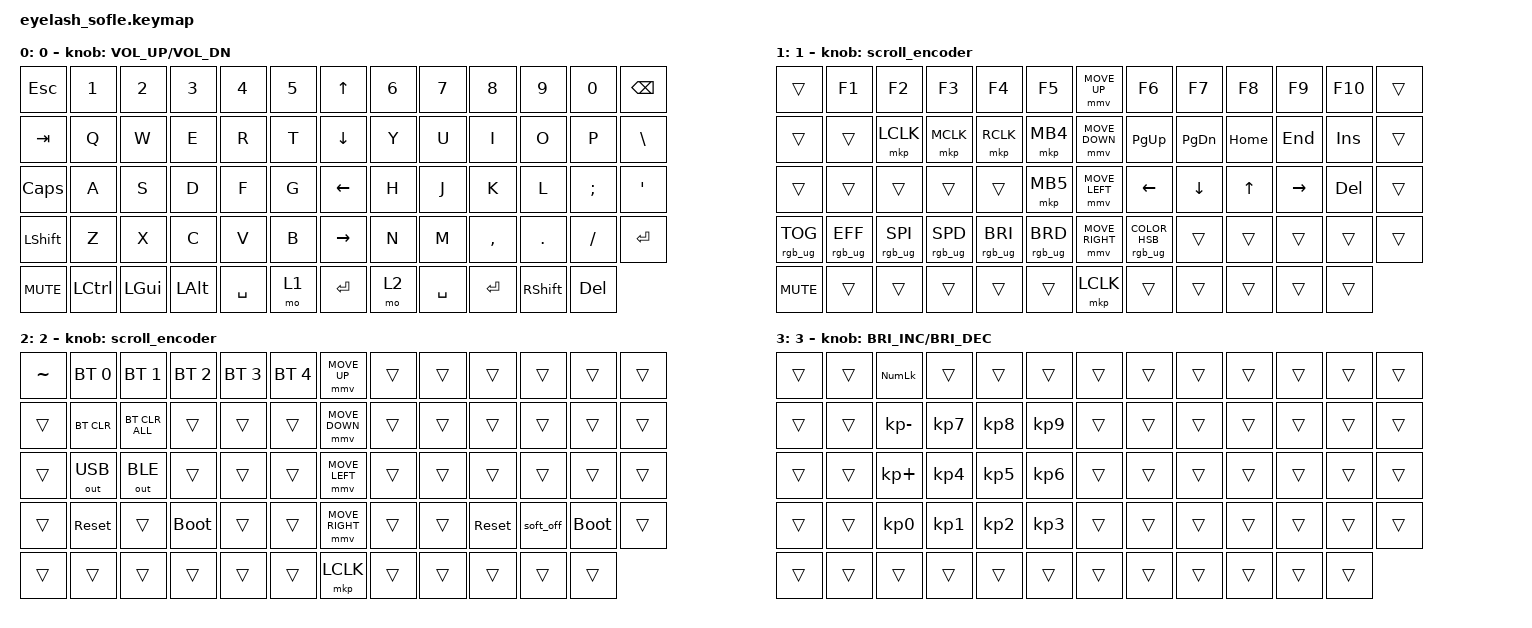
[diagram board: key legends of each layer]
#define ZMK_POINTING_DEFAULT_MOVE_VAL 1200  // 600
#define ZMK_POINTING_DEFAULT_SCRL_VAL 25   // 10

#include <input/processors.dtsi>
#include <zephyr/dt-bindings/input/input-event-codes.h>
#include <behaviors.dtsi>
#include <dt-bindings/zmk/bt.h>
#include <dt-bindings/zmk/keys.h>
#include <dt-bindings/zmk/outputs.h>
#include <dt-bindings/zmk/pointing.h>
#include <dt-bindings/zmk/rgb.h>

&mmv_input_listener { input-processors = <&zip_xy_scaler 2 1>; };

&msc_input_listener { input-processors = <&zip_scroll_scaler 2 1>; };

&msc {
    acceleration-exponent = <1>;      // 0
    time-to-max-speed-ms = <100>;       // 300
    delay-ms = <0>;                   // 0
};

&mmv {
    time-to-max-speed-ms = <500>;
    acceleration-exponent = <1>;
    trigger-period-ms = <16>;
};

/ {
    scroll_encoder: scroll_encoder {
        compatible = "zmk,behavior-sensor-rotate";
        #sensor-binding-cells = <0>;
        bindings = <&msc SCRL_DOWN>, <&msc SCRL_UP>;

        tap-ms = <100>;
    };

    combos {
        compatible = "zmk,combos";

        cf1 {
            bindings = <&kp F1>;
            key-positions = <1 14>;
            layers = <0>;
        };

        cf2 {
            bindings = <&kp F2>;
            key-positions = <15 2>;
            layers = <0>;
        };

        cf3 {
            bindings = <&kp F3>;
            key-positions = <16 3>;
            layers = <0>;
        };

        cf4 {
            bindings = <&kp F4>;
            key-positions = <4 17>;
            layers = <0>;
        };

        cf5 {
            bindings = <&kp F5>;
            key-positions = <5 18>;
            layers = <0>;
        };

        cf6 {
            bindings = <&kp F6>;
            key-positions = <20 7>;
            layers = <0>;
        };

        cf7 {
            bindings = <&kp F7>;
            key-positions = <8 21>;
            layers = <0>;
        };

        cf8 {
            bindings = <&kp F8>;
            key-positions = <9 22>;
            layers = <0>;
        };

        cf9 {
            bindings = <&kp F9>;
            key-positions = <10 23>;
            layers = <0>;
        };

        cf10 {
            bindings = <&kp F10>;
            key-positions = <11 24>;
            layers = <0>;
        };

        cf11 {
            bindings = <&kp F11>;
            key-positions = <0 13>;
            layers = <0>;
        };

        cf12 {
            bindings = <&kp F12>;
            key-positions = <12 25>;
            layers = <0>;
        };

        cminus {
            bindings = <&kp MINUS>;
            key-positions = <23 22>;
            layers = <0>;
        };

        cequal {
            bindings = <&kp EQUAL>;
            key-positions = <24 23>;
            layers = <0>;
        };

        cleftbracket {
            bindings = <&kp LEFT_BRACKET>;
            key-positions = <36 35>;
            layers = <0>;
        };

        crightbracket {
            bindings = <&kp RIGHT_BRACKET>;
            key-positions = <37 36>;
            layers = <0>;
        };

        cgrave {
            bindings = <&kp GRAVE>;
            key-positions = <14 15>;
            layers = <0>;
        };

        cmult {
            bindings = <&kp KP_ASTERISK>;
            key-positions = <29 28>;
            layers = <3>;
        };

        cslash {
            bindings = <&kp KP_SLASH>;
            key-positions = <16 15>;
            layers = <3>;
        };

        cca {
            bindings = <&kp LC(LEFT_ALT)>;
            key-positions = <53 63>;
            layers = <0>;
            slow-release;
            timeout-ms = <80>;
        };

        cgrave2 {
            bindings = <&kp GRAVE>;
            key-positions = <14 13>;
            layers = <0>;
        };
    };

    behaviors {
    };

    keymap {
        compatible = "zmk,keymap";

        layer_0 {
            bindings = <
&kp ESC     &kp N1     &kp N2        &kp N3        &kp N4     &kp N5    &kp UP_ARROW     &kp N6  &kp N7     &kp N8     &kp N9           &kp N0      &kp BACKSPACE
&kp TAB     &kp Q      &kp W         &kp E         &kp R      &kp T     &kp DOWN_ARROW   &kp Y   &kp U      &kp I      &kp O            &kp P       &kp BSLH
&kp CAPS    &kp A      &kp S         &kp D         &kp F      &kp G     &kp LEFT_ARROW   &kp H   &kp J      &kp K      &kp L            &kp SEMI    &kp APOS
&kp LSHFT   &kp Z      &kp X         &kp C         &kp V      &kp B     &kp RIGHT_ARROW  &kp N   &kp M      &kp COMMA  &kp DOT          &kp FSLH    &kp ENTER
&kp C_MUTE  &kp LCTRL  &kp LEFT_GUI  &kp LEFT_ALT  &kp SPACE  &mo 1     &kp ENTER        &mo 2   &kp SPACE  &kp ENTER  &kp RIGHT_SHIFT  &kp DELETE
            >;

            sensor-bindings = <&inc_dec_kp C_VOLUME_UP C_VOL_DN>;
            display-name = "0";
            label = "0";
        };

        layer_1 {
            bindings = <
&trans           &kp F1           &kp F2           &kp F3           &kp F4           &kp F5             &mmv MOVE_UP     &kp F6                            &kp F7          &kp F8        &kp F9     &kp F10     &trans
&trans           &trans           &mkp LCLK        &mkp MCLK        &mkp RCLK        &mkp MB4           &mmv MOVE_DOWN   &kp PG_UP                         &kp PG_DN       &kp HOME      &kp END    &kp INSERT  &trans
&trans           &trans           &trans           &trans           &trans           &mkp MB5           &mmv MOVE_LEFT   &kp LEFT_ARROW                    &kp DOWN_ARROW  &kp UP_ARROW  &kp RIGHT  &kp DEL     &trans
&rgb_ug RGB_TOG  &rgb_ug RGB_EFF  &rgb_ug RGB_SPI  &rgb_ug RGB_SPD  &rgb_ug RGB_BRI  &rgb_ug RGB_BRD    &mmv MOVE_RIGHT  &rgb_ug RGB_COLOR_HSB(209,81,77)  &trans          &trans        &trans     &trans      &trans
&kp C_MUTE       &trans           &trans           &trans           &trans           &trans             &mkp LCLK        &trans                            &trans          &trans        &trans     &trans
            >;

            display-name = "1";
            sensor-bindings = <&scroll_encoder>;
            label = "1";
        };

        layer_2 {
            bindings = <
&kp TILDE  &bt BT_SEL 0  &bt BT_SEL 1    &bt BT_SEL 2  &bt BT_SEL 3  &bt BT_SEL 4    &mmv MOVE_UP     &trans  &trans  &trans      &trans     &trans       &trans
&trans     &bt BT_CLR    &bt BT_CLR_ALL  &trans        &trans        &trans          &mmv MOVE_DOWN   &trans  &trans  &trans      &trans     &trans       &trans
&trans     &out OUT_USB  &out OUT_BLE    &trans        &trans        &trans          &mmv MOVE_LEFT   &trans  &trans  &trans      &trans     &trans       &trans
&trans     &sys_reset    &trans          &bootloader   &trans        &trans          &mmv MOVE_RIGHT  &trans  &trans  &sys_reset  &soft_off  &bootloader  &trans
&trans     &trans        &trans          &trans        &trans        &trans          &mkp LCLK        &trans  &trans  &trans      &trans     &trans
            >;

            sensor-bindings = <&scroll_encoder>;
            label = "2";
        };

        layer_3 {
            bindings = <
&trans  &trans  &kp KP_NUMLOCK  &trans     &trans     &trans       &trans  &trans  &trans  &trans  &trans  &trans  &trans
&trans  &trans  &kp KP_MINUS    &kp KP_N7  &kp KP_N8  &kp KP_N9    &trans  &trans  &trans  &trans  &trans  &trans  &trans
&trans  &trans  &kp KP_PLUS     &kp KP_N4  &kp KP_N5  &kp KP_N6    &trans  &trans  &trans  &trans  &trans  &trans  &trans
&trans  &trans  &kp KP_N0       &kp KP_N1  &kp KP_N2  &kp KP_N3    &trans  &trans  &trans  &trans  &trans  &trans  &trans
&trans  &trans  &trans          &trans     &trans     &trans       &trans  &trans  &trans  &trans  &trans  &trans
            >;

            sensor-bindings = <&inc_dec_kp C_BRIGHTNESS_INC C_BRIGHTNESS_DEC>;
            label = "3";
        };
    };

    conditional_layers {
        compatible = "zmk,conditional-layers";

        con3 {
            if-layers = <1 2>;
            then-layer = <3>;
        };
    };
};
